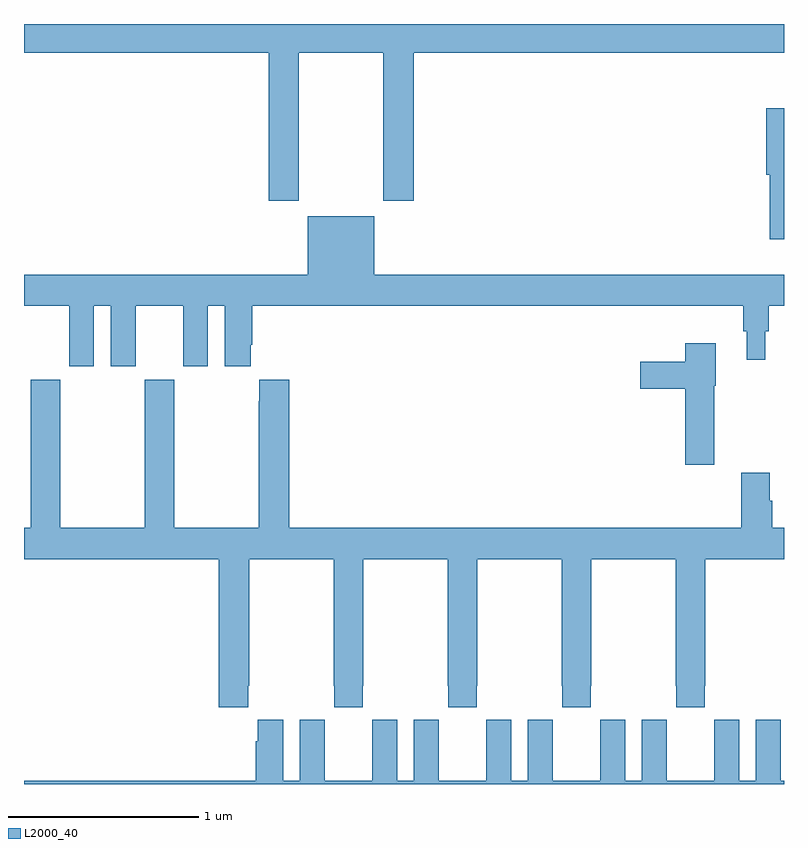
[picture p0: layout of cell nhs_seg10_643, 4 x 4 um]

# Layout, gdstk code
import gdstk
lib = gdstk.Library(unit=1e-6, precision=1e-09)
def P(c, l, *ps):  # polygons
    for p in ps: c.add(gdstk.Polygon(p, *l))
L2000_40 = (2000, 40)

nhs_seg10_643 = lib.new_cell('nhs_seg10_643')
P(nhs_seg10_643, L2000_40, [(143,1268.348),(144.287,1268.348),(144.287,1267.569),(144.447,1267.569),(144.447,1268.348),(144.892,1268.348),(144.892,1267.569),(145.052,1267.569),(145.052,1268.348),(147,1268.348),(147,1268.5),(143,1268.5)],
  [(147,1268.056),(146.906,1268.056),(146.906,1267.707),(146.924,1267.707),(146.924,1267.368),(147,1267.368)],
  [(143,1267.016),(143.237,1267.016),(143.237,1266.699),(143.368,1266.699),(143.368,1267.016),(143.456,1267.016),(143.456,1266.699),(143.587,1266.699),(143.587,1267.016),(143.837,1267.016),(143.837,1266.699),(143.968,1266.699),(143.968,1267.016),(144.056,1267.016),(144.056,1266.699),(144.193,1266.699),(144.193,1266.811),(144.2,1266.811),(144.2,1267.016),(146.785,1267.016),(146.785,1266.882),(146.804,1266.882),(146.804,1266.732),(146.902,1266.732),(146.902,1266.882),(146.921,1266.882),(146.921,1267.016),(147,1267.016),(147,1267.18),(144.844,1267.18),(144.844,1267.489),(144.494,1267.489),(144.494,1267.18),(143,1267.18)],
  [(146.634,1266.597),(146.64,1266.597),(146.64,1266.82),(146.48,1266.82),(146.48,1266.723),(146.244,1266.723),(146.244,1266.581),(146.48,1266.581),(146.48,1266.18),(146.634,1266.18)],
  [(144.179,1265.017),(144.186,1265.017),(144.186,1265.684),(144.631,1265.684),(144.631,1265.017),(144.633,1265.017),(144.633,1264.905),(144.783,1264.905),(144.783,1265.017),(144.786,1265.017),(144.786,1265.684),(145.231,1265.684),(145.231,1265.017),(145.233,1265.017),(145.233,1264.905),(145.383,1264.905),(145.383,1265.017),(145.386,1265.017),(145.386,1265.684),(145.831,1265.684),(145.831,1265.017),(145.833,1265.017),(145.833,1264.905),(145.983,1264.905),(145.983,1265.017),(145.986,1265.017),(145.986,1265.684),(146.431,1265.684),(146.431,1265.017),(146.433,1265.017),(146.433,1264.905),(146.583,1264.905),(146.583,1265.017),(146.586,1265.017),(146.586,1265.684),(147,1265.684),(147,1265.848),(146.939,1265.848),(146.939,1265.99),(146.926,1265.99),(146.926,1266.139),(146.774,1266.139),(146.774,1265.848),(144.395,1265.848),(144.395,1266.628),(144.239,1266.628),(144.239,1266.515),(144.235,1266.515),(144.235,1265.848),(143.79,1265.848),(143.79,1266.628),(143.635,1266.628),(143.635,1265.848),(143.19,1265.848),(143.19,1266.628),(143.035,1266.628),(143.035,1265.848),(143,1265.848),(143,1265.684),(144.026,1265.684),(144.026,1264.905),(144.179,1264.905)],
  [(147,1264.516),(146.983,1264.516),(146.983,1264.724),(146.982,1264.724),(146.982,1264.837),(146.852,1264.837),(146.852,1264.516),(146.764,1264.516),(146.764,1264.837),(146.634,1264.837),(146.634,1264.724),(146.633,1264.724),(146.633,1264.516),(146.383,1264.516),(146.383,1264.724),(146.382,1264.724),(146.382,1264.837),(146.252,1264.837),(146.252,1264.516),(146.164,1264.516),(146.164,1264.837),(146.034,1264.837),(146.034,1264.724),(146.033,1264.724),(146.033,1264.516),(145.783,1264.516),(145.783,1264.724),(145.782,1264.724),(145.782,1264.837),(145.652,1264.837),(145.652,1264.516),(145.564,1264.516),(145.564,1264.837),(145.434,1264.837),(145.434,1264.724),(145.433,1264.724),(145.433,1264.516),(145.183,1264.516),(145.183,1264.724),(145.182,1264.724),(145.182,1264.837),(145.052,1264.837),(145.052,1264.516),(144.964,1264.516),(144.964,1264.837),(144.834,1264.837),(144.834,1264.724),(144.833,1264.724),(144.833,1264.516),(144.583,1264.516),(144.583,1264.724),(144.582,1264.724),(144.582,1264.837),(144.452,1264.837),(144.452,1264.516),(144.364,1264.516),(144.364,1264.837),(144.23,1264.837),(144.23,1264.724),(144.221,1264.724),(144.221,1264.516),(143,1264.516),(143,1264.5),(147,1264.5)])

lib.write_gds('nhs_seg10_643.gds')
